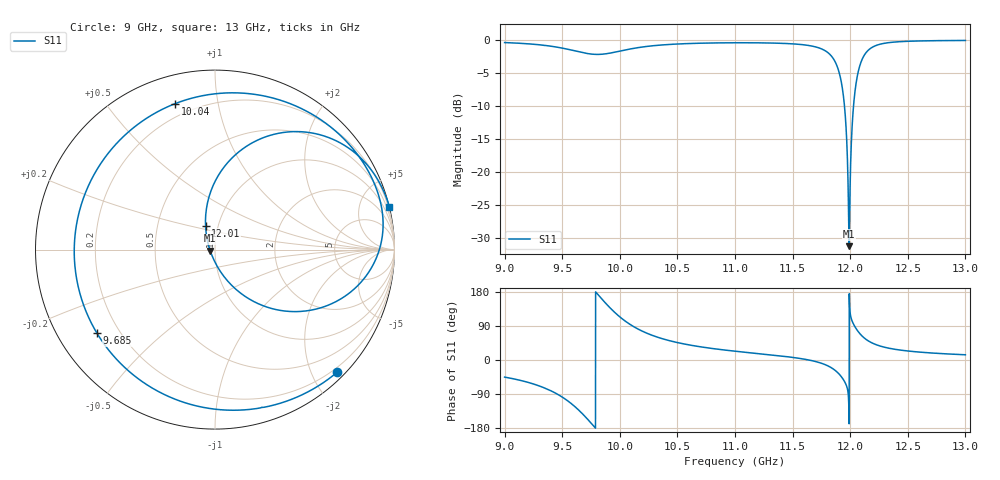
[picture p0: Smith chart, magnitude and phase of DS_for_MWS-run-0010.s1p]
! TOUCHSTONE file generated by CST DESIGN STUDIO
! Date and time: Tue Feb  4 16:26:47 2025
! Project name: C:\Work\MatlabApps\UnitCellOptimizationMatlab\CST\unitcell.cst
! Tree item: Tasks\Sweep1\SPara1\S-Parameters
! Header version: 2024
! Port assignment regex: !\s*Touchstone port\s*([0-9]+)\s*=\s*(CST MWS port|CST DES external port|CST DES block port)\s*(.+)\s* \(\"(.*)\"\)(\s*mode\s*([0-9]+))?.*
! Touchstone port assignment:
! Touchstone port 1 = CST DES external port 1 ("")
# GHz S MA R 50
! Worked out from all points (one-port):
!   4001 points, 9 GHz to 13 GHz, reference 50 ohm
!   lowest |S11| = -31.2 dB at 11.99 GHz (marker M1), VSWR 1.06, Z = 47.4 - j0.532 ohm
!   |S11| at or under -10 dB: 11.95 GHz to 12.03 GHz (77.99 MHz wide, 0.65 % of centre)
!   S11 on the Smith chart (normalised r, x): 9 GHz: 0.12, -2.40; 9.685 GHz: 0.12, -0.31; 10.04 GHz: 0.13, +0.75; 12.01 GHz: 0.87, +0.24; 13 GHz: -0.01, +8.28
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9  0.9642 -45.1
9.275  0.9322 -65.7
9.5  0.8751 -97.8
9.596  0.8391 -119.3
9.685  0.8058 -144.8
9.759  0.7874 -169.4
9.828  0.7847 166.5
9.917  0.8022 137.1
10  0.8303 113.8
10.035  0.8429 105.4
10.251  0.9047 68.7
10.5  0.9401 46.0
11  0.9608 23.2
11.5  0.9426 6.9
11.753  0.862 -8.9
11.882  0.6518 -30.6
11.943  0.3668 -52.8
11.961  0.2418 -62.9
11.978  0.1094 -79.1
11.991  0.02747 -168.2
12  0.08485 123.0
12.007  0.1426 111.7
12.022  0.265 99.0
12.041  0.4066 87.9
12.107  0.73 62.1
12.248  0.931 38.0
12.5  0.9857 23.8
13  1 13.8
